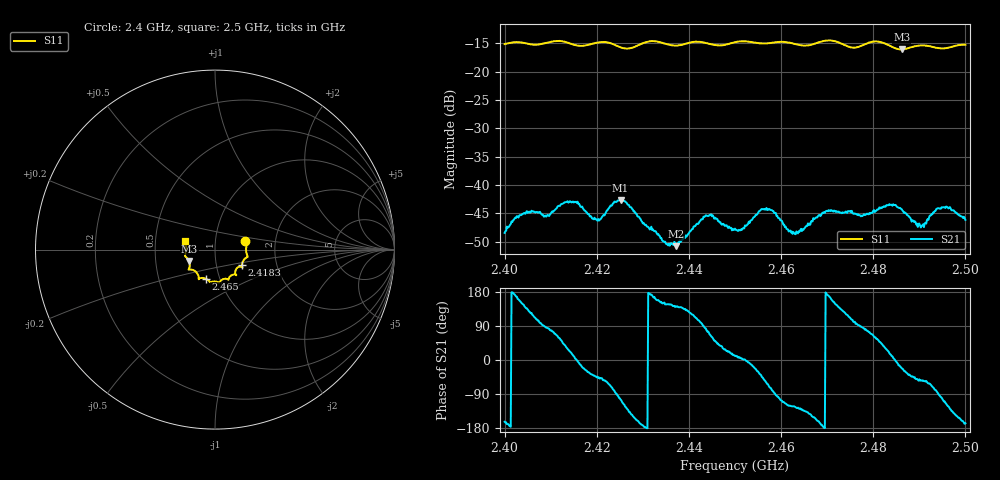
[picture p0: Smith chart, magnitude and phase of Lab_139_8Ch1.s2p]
# Hz S RI R 50
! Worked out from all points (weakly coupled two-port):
!   601 points, 2.4 GHz to 2.5 GHz, reference 50 ohm
!   highest |S21| = -42.65 dB at 2.4252 GHz (marker M1); lowest = -50.8 dB at 2.4372 GHz (marker M2)
!   lowest |S11| = -16.1 dB at 2.4862 GHz (marker M3), VSWR 1.37, Z = 37.2 - j4.82 ohm
!   |S11| at or under -10 dB: start of sweep to end of sweep
!   S12 and S22 are empty: the file has one direction only
!   S11 on the Smith chart (normalised r, x): 2.4 GHz: 1.40, +0.14; 2.4183 GHz: 1.33, -0.24; 2.465 GHz: 0.86, -0.29; 2.5 GHz: 0.71, +0.07
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2.4e9  0.1688 0.0469  -0.00362 -0.00111  0 0  0 0
2.404333e9  0.1773 0.025  -0.00441 0.00355  0 0  0 0
2.413833e9  0.1736 -0.0457  0.00621 0.00323  0 0  0 0
2.416667e9  0.1546 -0.0683  0.00618 -0.00178  0 0  0 0
2.418333e9  0.1499 -0.0869  0.00461 -0.003  0 0  0 0
2.4205e9  0.152 -0.0993  0.00336 -0.00352  0 0  0 0
2.425167e9  0.1328 -0.0959  -0.00185 -0.00714  0 0  0 0
2.433333e9  0.1173 -0.141  -0.00344 0.00137  0 0  0 0
2.437167e9  0.0892 -0.1448  -0.00226 0.0018  0 0  0 0
2.444e9  0.0685 -0.1641  0.00139 0.00516  0 0  0 0
2.45e9  0.0262 -0.1803  0.00406 0.000759  0 0  0 0
2.456333e9  -0.00353 -0.1773  0.00371 -0.00483  0 0  0 0
2.462667e9  -0.0338 -0.1737  -0.00206 -0.00326  0 0  0 0
2.465e9  -0.0525 -0.1616  -0.00288 -0.00296  0 0  0 0
2.466667e9  -0.0714 -0.1578  -0.0041 -0.00254  0 0  0 0
2.470333e9  -0.0912 -0.1649  -0.00591 0.0011  0 0  0 0
2.477833e9  -0.1311 -0.1114  0.000533 0.0054  0 0  0 0
2.483333e9  -0.1412 -0.0968  0.00618 0.00251  0 0  0 0
2.486167e9  -0.1438 -0.0633  0.00571 -0.00223  0 0  0 0
2.490167e9  -0.1662 -0.0365  0.00256 -0.00358  0 0  0 0
2.495333e9  -0.1603 0.00749  -0.00213 -0.00601  0 0  0 0
2.5e9  -0.1665 0.0466  -0.0048 -0.00111  0 0  0 0
